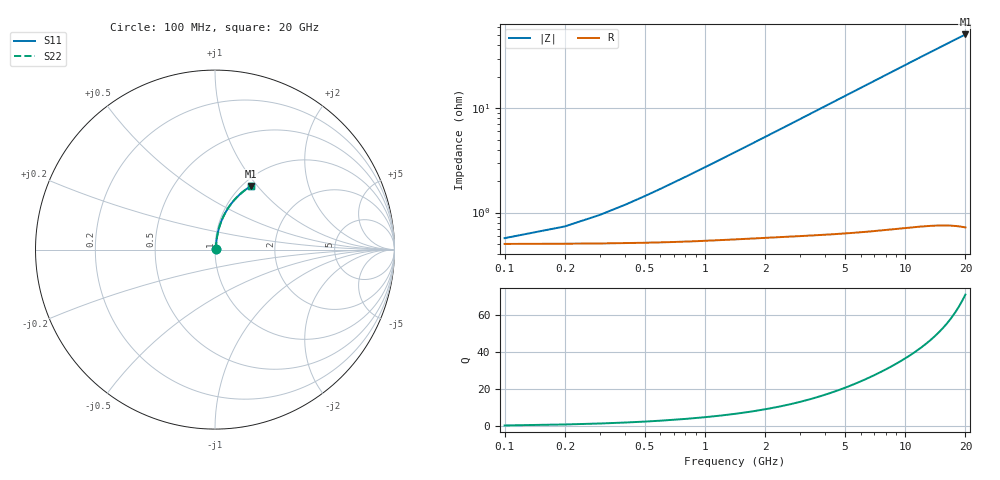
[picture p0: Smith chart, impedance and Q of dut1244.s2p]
! Touchstone file exported from HFSS 2024.1.0
!  File:  C:/UserFiles/LocalFiles/RDL_TSV_Batchsim/temp_RDL_top_1244_1780241130.aedt
!  Generated:  11:27:41 PM May 31, 2026
!  Design:  RDL_top
!  Project:  temp_RDL_top_1244_1780241130
!  Setup:  Setup1
!  Solution:  Sweep
! Variables:
!  dtsv = 10.80580581um
!  hbump = 3um
!  htsv = 94.57um
!  ldown = 100um
!  lrdl = 307.79um
!  p = 40
!  p1 = 57.63um
!  rhole = 1um
!  t = 450um
!  tdown = 3.915915916um
!  trdl = 2.2um
!  wdown = 15.38538539um
!  wrdl = 10.3um
# GHz S MA R 50.000000
! Terminal data exported
! Port[1] = Box2_T1
! Port[2] = Box2_T2
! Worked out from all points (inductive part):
!   200 points, 100 MHz to 20 GHz, reference 50 ohm
!   read as one part in series: L = 424 pH near 600 MHz
!   highest Q = 70.9 at 20 GHz (marker M1), where L = 406 pH
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0.1  0.005477 24.7  0.995 -0.2  0.995 -0.2  0.005477 24.7
! Gamma 0 0 0 0
! Port Impedance 50 0 50 0
0.4  0.01043 60.4  0.9949 -0.7  0.9949 -0.7  0.01043 60.4
0.5  0.01247 65.2  0.9948 -0.9  0.9948 -0.9  0.01247 65.2
0.6  0.01458 68.6  0.9947 -1.0  0.9947 -1.0  0.01458 68.6
0.7  0.01671 71.0  0.9946 -1.2  0.9946 -1.2  0.01671 71.0
0.9  0.02105 74.3  0.9944 -1.6  0.9944 -1.6  0.02105 74.3
1.2  0.02762 77.2  0.994 -2.1  0.994 -2.1  0.02762 77.2
1.4  0.03201 78.3  0.9937 -2.4  0.9937 -2.4  0.03201 78.3
1.7  0.0386 79.4  0.9932 -2.9  0.9932 -2.9  0.0386 79.4
2.2  0.0496 80.4  0.9923 -3.8  0.9923 -3.8  0.0496 80.4
2.8  0.0628 80.9  0.9911 -4.8  0.9911 -4.8  0.0628 80.9
3.5  0.07822 80.9  0.9893 -6.0  0.9893 -6.0  0.07822 80.9
4.2  0.09364 80.5  0.9872 -7.1  0.9872 -7.1  0.09364 80.5
5  0.1112 79.9  0.9844 -8.5  0.9844 -8.5  0.1112 79.9
5.9  0.131 79.1  0.9807 -10.0  0.9807 -10.0  0.131 79.1
6.8  0.1507 78.1  0.9766 -11.4  0.9766 -11.4  0.1507 78.1
8.3  0.1832 76.2  0.9689 -13.8  0.9689 -13.8  0.1832 76.2
10.1  0.2214 73.9  0.9583 -16.6  0.9583 -16.6  0.2214 73.9
11.7  0.2544 71.7  0.9479 -19.1  0.9479 -19.1  0.2544 71.7
13.4  0.2884 69.3  0.9359 -21.6  0.9359 -21.6  0.2884 69.3
16.7  0.3506 64.8  0.9107 -26.3  0.9107 -26.3  0.3506 64.8
20  0.4073 60.5  0.8838 -30.7  0.8838 -30.7  0.4073 60.5
